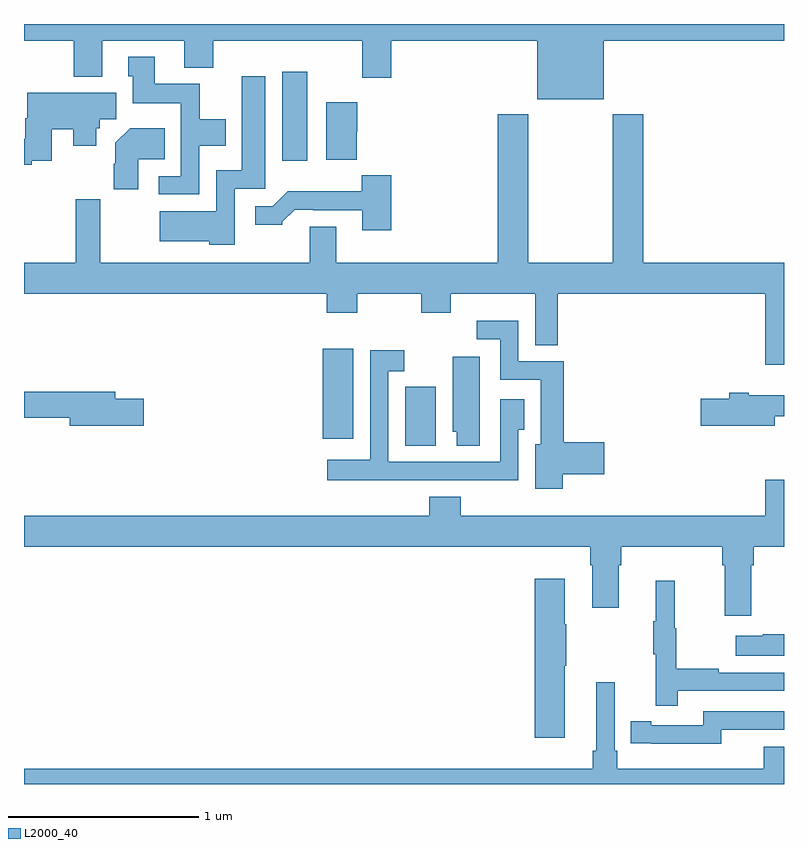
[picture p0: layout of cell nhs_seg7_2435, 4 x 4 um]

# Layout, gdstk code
import gdstk
lib = gdstk.Library(unit=1e-6, precision=1e-09)
def R(c, l, rs):  # rectangles x0, y0, x1, y1
    for r in rs: c.add(gdstk.rectangle(r[:2], r[2:], *l))
def P(c, l, *ps):  # polygons
    for p in ps: c.add(gdstk.Polygon(p, *l))
L2000_40 = (2000, 40)

nhs_seg7_2435 = lib.new_cell('nhs_seg7_2435')
R(nhs_seg7_2435, L2000_40, [(271.007,1035.781,271.168,1036.092), (270.572,1035.816,270.733,1036.291), (270.359,1037.28,270.49,1037.749)])
P(nhs_seg7_2435, L2000_40, [(272.05,1037.912),(273,1037.912),(273,1038),(269,1038),(269,1037.912),(269.261,1037.912),(269.261,1037.723),(269.413,1037.723),(269.413,1037.912),(269.843,1037.912),(269.843,1037.771),(269.996,1037.771),(269.996,1037.912),(270.779,1037.912),(270.779,1037.718),(270.932,1037.718),(270.932,1037.912),(271.7,1037.912),(271.7,1037.603),(272.05,1037.603)],
  [(269.922,1037.36),(270.061,1037.36),(270.061,1037.5),(269.925,1037.5),(269.925,1037.686),(269.689,1037.686),(269.689,1037.827),(269.549,1037.827),(269.549,1037.724),(269.573,1037.724),(269.573,1037.582),(269.826,1037.582),(269.826,1037.199),(269.709,1037.199),(269.709,1037.103),(269.922,1037.103)],
  [(270.108,1037.133),(270.271,1037.133),(270.271,1037.725),(270.146,1037.725),(270.146,1037.23),(270.012,1037.23),(270.012,1037.014),(269.715,1037.014),(269.715,1036.856),(269.976,1036.856),(269.976,1036.838),(270.108,1036.838)],
  [(269.042,1037.28),(269.146,1037.28),(269.146,1037.447),(269.258,1037.447),(269.258,1037.36),(269.38,1037.36),(269.38,1037.451),(269.398,1037.451),(269.398,1037.5),(269.485,1037.5),(269.485,1037.638),(269.018,1037.638),(269.018,1037.504),(269.006,1037.504),(269.006,1037.396),(269,1037.396),(269,1037.26),(269.042,1037.26)],
  [(270.752,1037.433),(270.754,1037.433),(270.754,1037.587),(270.59,1037.587),(270.59,1037.285),(270.752,1037.285)],
  [(273,1036.744),(272.258,1036.744),(272.258,1037.524),(272.098,1037.524),(272.098,1036.744),(271.653,1036.744),(271.653,1037.524),(271.493,1037.524),(271.493,1036.744),(270.643,1036.744),(270.643,1036.934),(270.503,1036.934),(270.503,1036.744),(269.401,1036.744),(269.401,1037.077),(269.272,1037.077),(269.272,1036.744),(269,1036.744),(269,1036.58),(270.593,1036.58),(270.593,1036.481),(270.753,1036.481),(270.753,1036.58),(271.09,1036.58),(271.09,1036.481),(271.245,1036.481),(271.245,1036.58),(271.691,1036.58),(271.691,1036.309),(271.81,1036.309),(271.81,1036.58),(272.9,1036.58),(272.9,1036.206),(273,1036.206)],
  [(269.602,1037.288),(269.741,1037.288),(269.741,1037.452),(269.558,1037.452),(269.48,1037.374),(269.48,1037.264),(269.473,1037.264),(269.473,1037.13),(269.602,1037.13)],
  [(270.932,1037.203),(270.777,1037.203),(270.777,1037.119),(270.388,1037.119),(270.309,1037.04),(270.216,1037.04),(270.216,1036.943),(270.36,1036.943),(270.36,1036.958),(270.424,1037.022),(270.523,1037.022),(270.523,1037.019),(270.779,1037.019),(270.779,1036.914),(270.932,1036.914)],
  [(271.835,1035.629),(272.053,1035.629),(272.053,1035.8),(271.84,1035.8),(271.84,1036.224),(271.602,1036.224),(271.602,1036.438),(271.383,1036.438),(271.383,1036.341),(271.506,1036.341),(271.506,1036.128),(271.721,1036.128),(271.721,1035.787),(271.691,1035.787),(271.691,1035.555),(271.835,1035.555)],
  [(271.015,1035.6),(271.381,1035.6),(271.381,1035.599),(271.602,1035.599),(271.602,1035.865),(271.633,1035.865),(271.633,1036.024),(271.506,1036.024),(271.506,1035.696),(270.918,1035.696),(270.918,1036.173),(271,1036.173),(271,1036.282),(270.822,1036.282),(270.822,1035.706),(270.597,1035.706),(270.597,1035.599),(271.015,1035.599)],
  [(271.399,1036.249),(271.256,1036.249),(271.256,1035.855),(271.277,1035.855),(271.277,1035.781),(271.399,1035.781)],
  [(269.629,1036.028),(269.479,1036.028),(269.479,1036.064),(269,1036.064),(269,1035.928),(269.24,1035.928),(269.24,1035.886),(269.629,1035.886)],
  [(272.95,1035.936),(273,1035.936),(273,1036.045),(272.815,1036.045),(272.815,1036.058),(272.711,1036.058),(272.711,1036.028),(272.562,1036.028),(272.562,1035.886),(272.95,1035.886)],
  [(272.827,1035.152),(272.84,1035.152),(272.84,1035.248),(273,1035.248),(273,1035.601),(272.9,1035.601),(272.9,1035.412),(271.298,1035.412),(271.298,1035.511),(271.133,1035.511),(271.133,1035.412),(269,1035.412),(269,1035.248),(271.979,1035.248),(271.979,1035.152),(271.991,1035.152),(271.991,1034.928),(272.131,1034.928),(272.131,1035.152),(272.144,1035.152),(272.144,1035.248),(272.675,1035.248),(272.675,1035.152),(272.687,1035.152),(272.687,1034.886),(272.827,1034.886)],
  [(271.846,1034.623),(271.854,1034.623),(271.854,1034.84),(271.846,1034.84),(271.846,1035.079),(271.688,1035.079),(271.688,1034.244),(271.846,1034.244)],
  [(272.441,1034.49),(273,1034.49),(273,1034.586),(272.657,1034.586),(272.657,1034.606),(272.434,1034.606),(272.434,1034.82),(272.426,1034.82),(272.426,1035.07),(272.324,1035.07),(272.324,1034.857),(272.313,1034.857),(272.313,1034.683),(272.324,1034.683),(272.324,1034.412),(272.441,1034.412)],
  [(273,1034.789),(272.888,1034.789),(272.888,1034.779),(272.745,1034.779),(272.745,1034.675),(273,1034.675)],
  [(273,1034.197),(272.894,1034.197),(272.894,1034.08),(272.123,1034.08),(272.123,1034.176),(272.109,1034.176),(272.109,1034.536),(272.012,1034.536),(272.012,1034.176),(271.993,1034.176),(271.993,1034.08),(269,1034.08),(269,1034),(273,1034)],
  [(272.67,1034.286),(273,1034.286),(273,1034.382),(272.574,1034.382),(272.574,1034.31),(272.302,1034.31),(272.302,1034.33),(272.194,1034.33),(272.194,1034.214),(272.302,1034.214),(272.302,1034.213),(272.67,1034.213)])

lib.write_gds('nhs_seg7_2435.gds')
